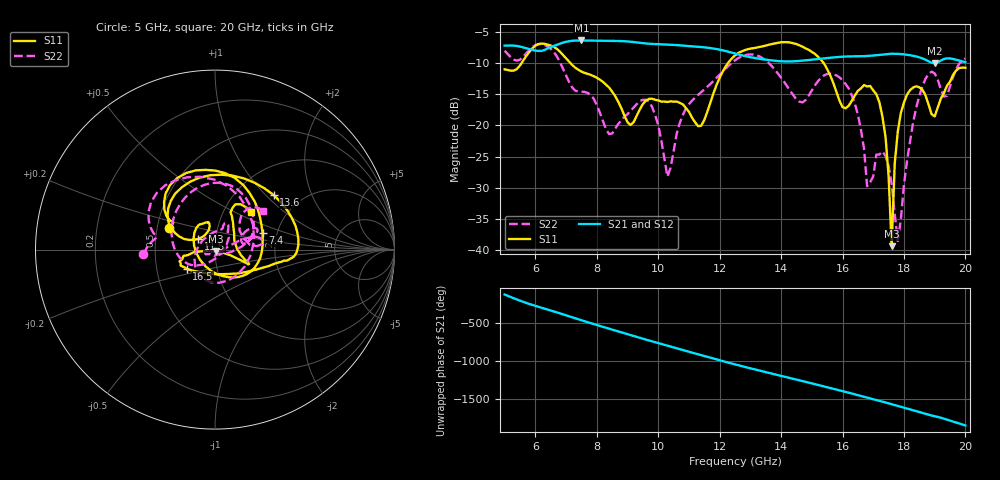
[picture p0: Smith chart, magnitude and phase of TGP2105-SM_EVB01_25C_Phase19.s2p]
! Date: Wednesday, June 05, 2013  1:50 PM
! Filename: C:\Data\Mike_Arnold\TGP2105-SM\Over_Temp\TGP2105-SM_EVB01_25C_Phase19.s2p
! Comments:
!^VDC(V):5.000
!^VDC(mA):0.045
!%Freq(GHz),S11(dB),S11(ang),S21(dB),S21(ang),S12(dB),S12(ang),S22(dB),S22(ang)
# GHz  S  DB  R  50
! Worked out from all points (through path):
!   151 points, 5 GHz to 20 GHz, reference 50 ohm
!   highest |S21| = -6.32 dB at 7.5 GHz (marker M1); lowest = -10.0 dB at 19 GHz (marker M2)
!   group delay of S21, straight-line fit = 306 ps
!   lowest |S11| = -39.4 dB at 17.6 GHz (marker M3), VSWR 1.02, Z = 50.4 - j0.987 ohm
!   |S11| at or under -10 dB: start of sweep to 5.546 GHz; 7.15 GHz to 12.27 GHz (5.115 GHz wide, 52.7 % of centre); 15.39 GHz to end of sweep
!   |S22| runs from -38.6 to -6.9 dB; largest |S21 - S12| = 0.0022
!   S11 on the Smith chart (normalised r, x): 5 GHz: 0.58, +0.15; 7.4 GHz: 1.68, +0.34; 11.5 GHz: 0.82, +0.10; 13.6 GHz: 1.47, +1.12; 16.5 GHz: 0.71, -0.16; 20 GHz: 1.35, +0.62
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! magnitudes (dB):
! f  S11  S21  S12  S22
! 5 GHz  -11.0  -7.2  -7.2  -8.0
! 7.4 GHz  -11.0  -6.3  -6.3  -14.5
! 7.5 GHz  -11.3  -6.3  -6.3  -14.6
! 8.4 GHz  -13.9  -6.4  -6.4  -21.4
! 9.1 GHz  -19.9  -6.5  -6.6  -17.6
! 10 GHz  -16.0  -6.9  -6.9  -19.9
! 10.3 GHz  -16.2  -7.0  -7.0  -28.2
! 11.5 GHz  -19.1  -7.4  -7.4  -14.2
! 12.5 GHz  -8.7  -8.4  -8.4  -9.5
! 13.6 GHz  -7.0  -9.5  -9.5  -10.0
! 15 GHz  -8.2  -9.4  -9.4  -14.4
! 16 GHz  -17.0  -8.9  -9.0  -12.7
! 16.5 GHz  -14.4  -8.9  -8.9  -18.2
! 16.8 GHz  -13.7  -8.8  -8.8  -29.8
! 17.2 GHz  -16.3  -8.6  -8.7  -24.7
! 17.5 GHz  -28.1  -8.5  -8.5  -26.5
! 17.6 GHz  -39.4  -8.5  -8.5  -29.4
! 17.8 GHz  -20.9  -8.5  -8.5  -38.6
! 18 GHz  -16.3  -8.6  -8.6  -29.5
! 18.5 GHz  -13.9  -9.0  -9.1  -15.2
! 19 GHz  -18.5  -10.0  -10.0  -11.6
! 20 GHz  -10.7  -9.8  -9.8  -9.2
